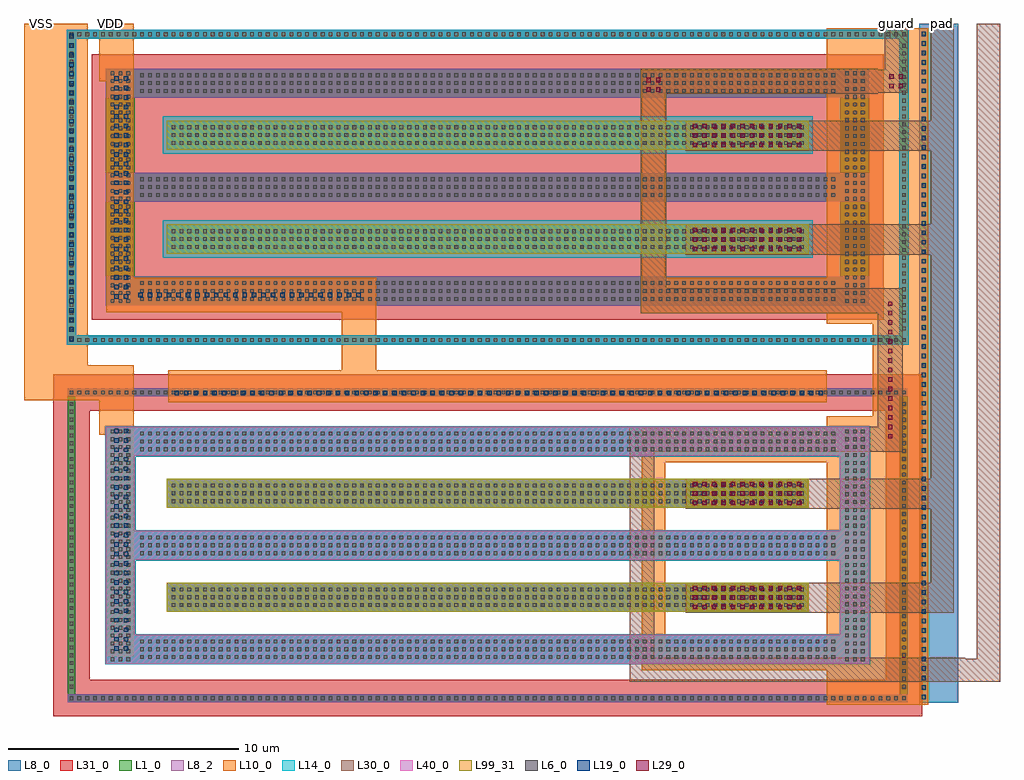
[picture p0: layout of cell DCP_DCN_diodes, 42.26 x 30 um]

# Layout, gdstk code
import gdstk
lib = gdstk.Library(unit=1e-6, precision=1e-09)
def R(c, l, rs):  # rectangles x0, y0, x1, y1
    for r in rs: c.add(gdstk.rectangle(r[:2], r[2:], *l))
def A(c, l, x, y, w, h, nx, ny, dx, dy):  # array of equal rectangles
    R(c, l, [(x+i*dx, y+j*dy, x+i*dx+w, y+j*dy+h) for i in range(nx) for j in range(ny)])
L1_0 = (1, 0)
L6_0 = (6, 0)
L8_0 = (8, 0)
L8_2 = (8, 2)
L10_0 = (10, 0)
L14_0 = (14, 0)
L19_0 = (19, 0)
L29_0 = (29, 0)
L30_0 = (30, 0)
L31_0 = (31, 0)
L40_0 = (40, 0)
L99_31 = (99, 31)

sg13g2_dcpdiode = lib.new_cell('sg13g2_DCPDiode')
A(sg13g2_dcpdiode, L1_0, 0, 0, 33.06, 1.26, 1, 3, 0, 4.5)
R(sg13g2_dcpdiode, L1_0, [(-1.66,-1.66,34.72,-1.32), (-1.66,-1.32,-1.32,11.58), (34.38,-1.32,34.72,11.58), (0,1.26,1.26,4.5), (31.8,1.26,33.06,4.5), (2.64,2.25,30.42,3.51), (0,5.76,1.26,9), (31.8,5.76,33.06,9), (2.64,6.75,30.42,8.01), (-1.66,11.58,34.72,11.92)])
A(sg13g2_dcpdiode, L6_0, -1.57, -1.57, 0.16, 0.16, 107, 2, 0.34, 13.24)
A(sg13g2_dcpdiode, L6_0, -1.57, -1.07, 0.16, 0.16, 1, 37, 0, 0.34)
A(sg13g2_dcpdiode, L6_0, 34.47, -1.07, 0.16, 0.16, 1, 37, 0, 0.34)
A(sg13g2_dcpdiode, L6_0, 0.21, 0.12, 0.16, 0.16, 3, 30, 0.34, 0.34)
A(sg13g2_dcpdiode, L6_0, 32.01, 0.12, 0.16, 0.16, 3, 30, 0.34, 0.34)
A(sg13g2_dcpdiode, L6_0, 1.49, 0.21, 0.16, 0.16, 89, 3, 0.34, 0.34)
A(sg13g2_dcpdiode, L6_0, 2.85, 2.46, 0.16, 0.16, 81, 3, 0.34, 0.34)
A(sg13g2_dcpdiode, L6_0, 1.49, 4.71, 0.16, 0.16, 89, 3, 0.34, 0.34)
A(sg13g2_dcpdiode, L6_0, 2.85, 6.96, 0.16, 0.16, 81, 3, 0.34, 0.34)
A(sg13g2_dcpdiode, L6_0, 1.49, 9.21, 0.16, 0.16, 89, 3, 0.34, 0.34)
A(sg13g2_dcpdiode, L8_0, 0, 0, 33.06, 1.26, 1, 3, 0, 4.5)
R(sg13g2_dcpdiode, L8_0, [(-1.66,-1.66,34.72,-1.32), (-1.66,-1.32,-1.32,11.58), (34.38,-1.32,34.72,11.58), (0,1.26,1.26,4.5), (31.8,1.26,33.06,4.5), (2.64,2.25,30.42,3.51), (0,5.76,1.26,9), (31.8,5.76,33.06,9), (2.64,6.75,30.42,8.01), (-1.66,11.58,34.72,11.92)])
A(sg13g2_dcpdiode, L8_2, 0, 0, 33.06, 1.26, 1, 3, 0, 4.5)
R(sg13g2_dcpdiode, L8_2, [(-1.66,-1.66,34.72,-1.32), (2.64,2.25,30.42,3.51), (2.64,6.75,30.42,8.01), (-1.66,11.58,34.72,11.92)])
R(sg13g2_dcpdiode, L14_0, [(-1.69,-1.69,34.75,-1.29), (-1.69,-1.29,-1.29,11.55), (34.35,-1.29,34.75,11.55), (2.46,2.07,30.6,3.69), (2.46,6.57,30.6,8.19), (-1.69,11.55,34.75,11.95)])
R(sg13g2_dcpdiode, L31_0, [(-0.62,-0.62,33.68,10.88)])
R(sg13g2_dcpdiode, L99_31, [(2.64,2.25,30.42,3.51), (2.64,6.75,30.42,8.01)])
sg13g2_dcpdiode.add(gdstk.Label('guard', (16.53,-1.49), layer=8, texttype=25))
sg13g2_dcpdiode.add(gdstk.Label('guard', (16.53,11.75), layer=8, texttype=25))
sg13g2_dcpdiode.add(gdstk.Label('cathode', (16.53,9.63), layer=8, texttype=25))
sg13g2_dcpdiode.add(gdstk.Label('cathode', (16.53,0.63), layer=8, texttype=25))
sg13g2_dcpdiode.add(gdstk.Label('cathode', (16.53,5.13), layer=8, texttype=25))
sg13g2_dcpdiode.add(gdstk.Label('anode', (16.53,2.88), layer=8, texttype=25))
sg13g2_dcpdiode.add(gdstk.Label('anode', (16.53,7.38), layer=8, texttype=25))

sg13g2_dcndiode = lib.new_cell('sg13g2_DCNDiode')
A(sg13g2_dcndiode, L1_0, 0, 0, 33.06, 1.26, 1, 3, 0, 4.5)
R(sg13g2_dcndiode, L1_0, [(-1.66,-1.66,34.72,-1.32), (-1.66,-1.32,-1.32,11.58), (34.38,-1.32,34.72,11.58), (0,1.26,1.26,4.5), (31.8,1.26,33.06,4.5), (2.64,2.25,30.42,3.51), (0,5.76,1.26,9), (31.8,5.76,33.06,9), (2.64,6.75,30.42,8.01), (-1.66,11.58,34.72,11.92)])
A(sg13g2_dcndiode, L6_0, -1.57, -1.57, 0.16, 0.16, 107, 2, 0.34, 13.24)
A(sg13g2_dcndiode, L6_0, -1.57, -1.07, 0.16, 0.16, 1, 37, 0, 0.34)
A(sg13g2_dcndiode, L6_0, 34.47, -1.07, 0.16, 0.16, 1, 37, 0, 0.34)
A(sg13g2_dcndiode, L6_0, 0.21, 0.12, 0.16, 0.16, 3, 30, 0.34, 0.34)
A(sg13g2_dcndiode, L6_0, 32.01, 0.12, 0.16, 0.16, 3, 30, 0.34, 0.34)
A(sg13g2_dcndiode, L6_0, 1.49, 0.21, 0.16, 0.16, 89, 3, 0.34, 0.34)
A(sg13g2_dcndiode, L6_0, 2.85, 2.46, 0.16, 0.16, 81, 3, 0.34, 0.34)
A(sg13g2_dcndiode, L6_0, 1.49, 4.71, 0.16, 0.16, 89, 3, 0.34, 0.34)
A(sg13g2_dcndiode, L6_0, 2.85, 6.96, 0.16, 0.16, 81, 3, 0.34, 0.34)
A(sg13g2_dcndiode, L6_0, 1.49, 9.21, 0.16, 0.16, 89, 3, 0.34, 0.34)
A(sg13g2_dcndiode, L8_0, 0, 0, 33.06, 1.26, 1, 3, 0, 4.5)
R(sg13g2_dcndiode, L8_0, [(-1.66,-1.66,34.72,-1.32), (-1.66,-1.32,-1.32,11.58), (34.38,-1.32,34.72,11.58), (0,1.26,1.26,4.5), (31.8,1.26,33.06,4.5), (2.64,2.25,30.42,3.51), (0,5.76,1.26,9), (31.8,5.76,33.06,9), (2.64,6.75,30.42,8.01), (-1.66,11.58,34.72,11.92)])
A(sg13g2_dcndiode, L8_2, 0, 0, 33.06, 1.26, 1, 3, 0, 4.5)
R(sg13g2_dcndiode, L8_2, [(-1.66,-1.66,34.72,-1.32), (2.64,2.25,30.42,3.51), (2.64,6.75,30.42,8.01), (-1.66,11.58,34.72,11.92)])
A(sg13g2_dcndiode, L14_0, -0.03, -0.03, 33.12, 1.32, 1, 3, 0, 4.5)
R(sg13g2_dcndiode, L14_0, [(-0.03,1.29,1.29,4.47), (31.77,1.29,33.09,4.47), (-0.03,5.79,1.29,8.97), (31.77,5.79,33.09,8.97)])
R(sg13g2_dcndiode, L31_0, [(-2.28,-2.28,35.34,-0.7), (-2.28,-0.7,-0.7,10.96), (33.76,-0.7,35.34,10.96), (-2.28,10.96,35.34,12.54)])
A(sg13g2_dcndiode, L40_0, 0, 0, 33.06, 1.26, 1, 3, 0, 4.5)
R(sg13g2_dcndiode, L40_0, [(0,1.26,1.26,4.5), (31.8,1.26,33.06,4.5), (0,5.76,1.26,9), (31.8,5.76,33.06,9)])
R(sg13g2_dcndiode, L99_31, [(2.64,2.25,30.42,3.51), (2.64,6.75,30.42,8.01)])
sg13g2_dcndiode.add(gdstk.Label('guard', (16.53,-1.49), layer=8, texttype=25))
sg13g2_dcndiode.add(gdstk.Label('guard', (16.53,11.75), layer=8, texttype=25))
sg13g2_dcndiode.add(gdstk.Label('anode', (16.53,9.63), layer=8, texttype=25))
sg13g2_dcndiode.add(gdstk.Label('anode', (16.53,0.63), layer=8, texttype=25))
sg13g2_dcndiode.add(gdstk.Label('anode', (16.53,5.13), layer=8, texttype=25))
sg13g2_dcndiode.add(gdstk.Label('cathode', (16.53,2.88), layer=8, texttype=25))
sg13g2_dcndiode.add(gdstk.Label('cathode', (16.53,7.38), layer=8, texttype=25))

dcp_dcn_diodes = lib.new_cell('DCP_DCN_diodes')
R(dcp_dcn_diodes, L8_0, [(37,-15.4,38.7,14), (2.1,-13.2,2.8,-3.5), (27,-11.4,32.1,-10.3), (27,-6.9,32.1,-5.8), (4.6,-2.1,33,-1.9), (0.2,0.2,0.4,13.6), (2,2,13,2.5), (2.1,2.5,2.8,11.8), (27,4.1,32.1,5.2), (27,8.6,32.1,9.7)])
R(dcp_dcn_diodes, L10_0, [(33,-15.5,37.4,-14), (25,-14,37.4,-13), (1.8,-13.4,3,-3.8), (25,-13,26,-5), (33,-13,37.4,-5), (26.9,-11.5,32.2,-10.2), (26.9,-7,32.2,-5.7), (25,-5,37.4,-3.5), (1.5,-3.8,3,-2.3), (33,-3.5,37.4,-3), (35,-3,37.4,1), (4.5,-2.4,33,-1), (-1.755,-2.305,-0.24,-2.3), (-1.755,-2.3,3,-0.8), (12,-1,13.5,1.5), (-1.755,-0.8,1,14), (33,1,37.4,1.455), (24.955,1.455,37.4,2.5), (1.8,1.5,13.5,3), (25,2.5,37.4,3), (1.8,3,3,11.5), (25,3,26,11), (33,3,37.4,11), (26.9,4,32.2,5.3), (26.9,8.5,32.2,9.8), (25,11,37.4,12), (1.5,11.5,3,14), (33,12,37.4,13.8)])
A(dcp_dcn_diodes, L19_0, 37.105, -15.245, 0.19, 0.19, 1, 71, 0, 0.41)
A(dcp_dcn_diodes, L19_0, 2.15, -13.16, 0.19, 0.19, 1, 24, 0, 0.41)
A(dcp_dcn_diodes, L19_0, 2.56, -13.16, 0.19, 0.19, 1, 24, 0, 0.41)
A(dcp_dcn_diodes, L19_0, 27.2, -11.355, 0.19, 0.19, 12, 3, 0.41, 0.41)
A(dcp_dcn_diodes, L19_0, 27.2, -6.855, 0.19, 0.19, 12, 3, 0.41, 0.41)
A(dcp_dcn_diodes, L19_0, 4.765, -2.095, 0.19, 0.19, 69, 1, 0.41, 0)
A(dcp_dcn_diodes, L19_0, 0.205, 0.245, 0.19, 0.19, 1, 33, 0, 0.41)
A(dcp_dcn_diodes, L19_0, 2.15, 2.09, 0.19, 0.19, 1, 24, 0, 0.41)
A(dcp_dcn_diodes, L19_0, 2.56, 2.09, 0.19, 0.19, 1, 24, 0, 0.41)
A(dcp_dcn_diodes, L19_0, 3.195, 2.155, 0.19, 0.19, 24, 1, 0.41, 0)
A(dcp_dcn_diodes, L19_0, 27.2, 4.145, 0.19, 0.19, 12, 3, 0.41, 0.41)
A(dcp_dcn_diodes, L19_0, 27.2, 8.645, 0.19, 0.19, 12, 3, 0.41, 0.41)
A(dcp_dcn_diodes, L29_0, 27.2, -11.355, 0.19, 0.19, 12, 3, 0.41, 0.41)
A(dcp_dcn_diodes, L29_0, 27.2, -6.855, 0.19, 0.19, 12, 3, 0.41, 0.41)
A(dcp_dcn_diodes, L29_0, 35.655, -3.965, 0.19, 0.19, 1, 15, 0, 0.41)
A(dcp_dcn_diodes, L29_0, 27.2, 4.145, 0.19, 0.19, 12, 3, 0.41, 0.41)
A(dcp_dcn_diodes, L29_0, 27.2, 8.645, 0.19, 0.19, 12, 3, 0.41, 0.41)
R(dcp_dcn_diodes, L29_0, [(25.2,11.05,25.39,11.24), (25.61,11.05,25.8,11.24), (35.7,11.2,35.89,11.39), (36.11,11.2,36.3,11.39), (25.2,11.46,25.39,11.65), (25.61,11.46,25.8,11.65), (35.7,11.61,35.89,11.8), (36.11,11.61,36.3,11.8)])
R(dcp_dcn_diodes, L30_0, [(24.465,-14.5,40.5,-13.5), (24.465,-13.5,39,-13.46), (39.5,-13.5,40.5,14), (24.465,-13.46,25.54,-4.545), (26.9,-11.5,38.5,-10.2), (37.5,-10.2,38.5,-7), (26.9,-7,38.5,-5.7), (37.5,-5.7,38.5,4), (24.455,-4.545,36.3,-3.455), (35.21,-3.455,36.3,1.455), (24.955,1.455,36.3,2.545), (24.955,2.545,26.045,10.955), (26.9,4,38.5,5.3), (37.5,5.3,38.5,8.5), (26.9,8.5,38.5,9.8), (37.5,9.8,38.5,14), (24.955,10.955,35.21,11), (24.955,11,36.5,12), (24.955,12,35.21,12.045), (35.5,12,36.5,14)])
dcp_dcn_diodes.add(gdstk.Reference(sg13g2_dcpdiode, (1.79,1.79)))
dcp_dcn_diodes.add(gdstk.Reference(sg13g2_dcndiode, (1.79,-13.72)))
dcp_dcn_diodes.add(gdstk.Label('VSS', (-1,14), layer=10, texttype=25))
dcp_dcn_diodes.add(gdstk.Label('VDD', (2,14), layer=10, texttype=25))
dcp_dcn_diodes.add(gdstk.Label('guard', (36,14), layer=30, texttype=25))
dcp_dcn_diodes.add(gdstk.Label('pad', (38,14), layer=30, texttype=25))

lib.write_gds('DCP_DCN_diodes.gds')
